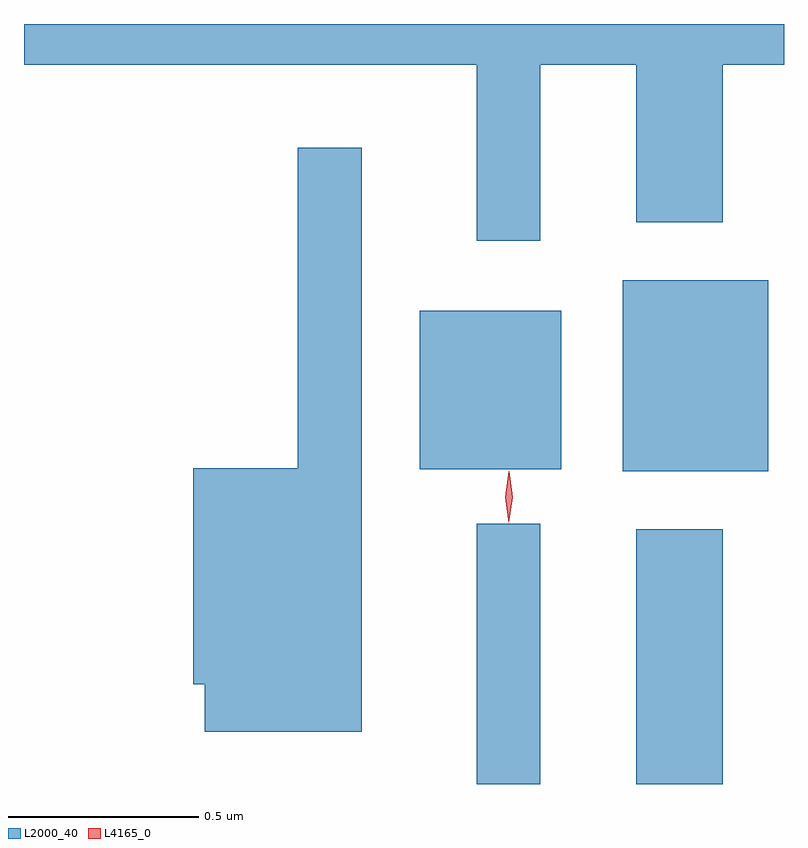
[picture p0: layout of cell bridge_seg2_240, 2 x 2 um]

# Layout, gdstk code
import gdstk
lib = gdstk.Library(unit=1e-6, precision=1e-09)
def R(c, l, rs):  # rectangles x0, y0, x1, y1
    for r in rs: c.add(gdstk.rectangle(r[:2], r[2:], *l))
def P(c, l, *ps):  # polygons
    for p in ps: c.add(gdstk.Polygon(p, *l))
L2000_40 = (2000, 40)
L4165_0 = (4165, 0)

bridge_seg2_240 = lib.new_cell('bridge_seg2_240')
R(bridge_seg2_240, L2000_40, [(535.691,1075.283,535.859,1075.968), (536.111,1075.283,536.339,1075.954), (536.076,1076.106,536.459,1076.609), (535.541,1076.111,535.914,1076.529)])
P(bridge_seg2_240, L2000_40, [(535.859,1077.176),(536.111,1077.176),(536.111,1076.761),(536.339,1076.761),(536.339,1077.176),(536.5,1077.176),(536.5,1077.283),(534.5,1077.283),(534.5,1077.176),(535.691,1077.176),(535.691,1076.713),(535.859,1076.713)],
  [(535.389,1076.958),(535.221,1076.958),(535.221,1076.114),(534.946,1076.114),(534.946,1075.546),(534.976,1075.546),(534.976,1075.421),(535.389,1075.421)])
P(bridge_seg2_240, L4165_0, [(535.775,1075.973),(535.775,1075.974),(535.766,1076.037),(535.776,1076.101),(535.776,1076.102),(535.777,1076.101),(535.786,1076.037),(535.776,1075.974)],
  [(535.775,1075.97),(535.775,1075.97),(535.766,1076.038),(535.776,1076.106),(535.776,1076.106),(535.777,1076.106),(535.786,1076.038),(535.776,1075.97)])

lib.write_gds('bridge_seg2_240.gds')
